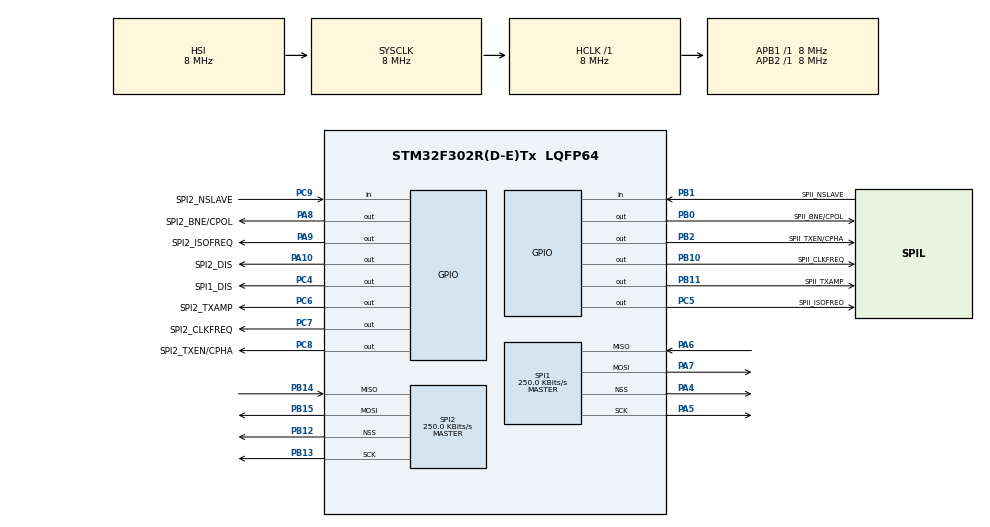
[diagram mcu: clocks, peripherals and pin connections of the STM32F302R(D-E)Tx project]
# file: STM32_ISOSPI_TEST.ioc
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Mcu.Family=STM32F3
Mcu.Name=STM32F302R(D-E)Tx
Mcu.Package=LQFP64
NVIC.PriorityGroup=NVIC_PRIORITYGROUP_4
NVIC.SPI1_IRQn=true\:0\:0\:false\:false\:true\:true\:true\:true
NVIC.SPI2_IRQn=true\:0\:0\:false\:false\:true\:true\:true\:true
PA10.GPIO_Label=SPI2_DIS
PA10.Signal=GPIO_Output
PA4.Mode=NSS_Signal_Hard_Output
PA4.Signal=SPI1_NSS
PA5.Mode=Full_Duplex_Master
PA5.Signal=SPI1_SCK
PA6.Mode=Full_Duplex_Master
PA6.Signal=SPI1_MISO
PA7.Mode=Full_Duplex_Master
PA7.Signal=SPI1_MOSI
PA8.GPIO_Label=SPI2_BNE/CPOL
PA8.Signal=GPIO_Output
PA9.GPIO_Label=SPI2_ISOFREQ
PA9.Signal=GPIO_Output
PB0.GPIO_Label=SPIl_BNE/CPOL
PB0.Signal=GPIO_Output
PB1.GPIO_Label=SPIl_NSLAVE
PB1.Signal=GPIO_Input
PB10.GPIO_Label=SPIl_CLKFREQ
PB10.Signal=GPIO_Output
PB11.GPIO_Label=SPIl_TXAMP
PB11.Signal=GPIO_Output
PB12.Mode=NSS_Signal_Hard_Output
PB12.Signal=SPI2_NSS
PB13.Mode=Full_Duplex_Master
PB13.Signal=SPI2_SCK
PB14.Mode=Full_Duplex_Master
PB14.Signal=SPI2_MISO
PB15.Mode=Full_Duplex_Master
PB15.Signal=SPI2_MOSI
PB2.GPIO_Label=SPIl_TXEN/CPHA
PB2.Signal=GPIO_Output
PC4.GPIO_Label=SPI1_DIS
PC4.Signal=GPIO_Output
PC5.GPIO_Label=SPIl_ISOFREO
PC5.Signal=GPIO_Output
PC6.GPIO_Label=SPI2_TXAMP
PC6.Signal=GPIO_Output
PC7.GPIO_Label=SPI2_CLKFREQ
PC7.Signal=GPIO_Output
PC8.GPIO_Label=SPI2_TXEN/CPHA
PC8.Signal=GPIO_Output
PC9.GPIO_Label=SPI2_NSLAVE
PC9.Signal=GPIO_Input
ProjectManager.HeapSize=0x200
ProjectManager.StackSize=0x400
ProjectManager.TargetToolchain=STM32CubeIDE
RCC.AHBFreq_Value=8000000
RCC.APB1Freq_Value=8000000
RCC.APB2Freq_Value=8000000
RCC.CortexFreq_Value=8000000
RCC.HSE_VALUE=8000000
RCC.HSI_VALUE=8000000
RCC.LSE_VALUE=32768
RCC.PLLMUL=RCC_PLL_MUL4
RCC.SYSCLKFreq_VALUE=8000000
RCC.USBFreq_Value=16000000
SPI1.BaudRatePrescaler=SPI_BAUDRATEPRESCALER_32
SPI1.CRCCalculation=SPI_CRCCALCULATION_ENABLE
SPI1.CalculateBaudRate=250.0 KBits/s
SPI1.DataSize=SPI_DATASIZE_8BIT
SPI1.Direction=SPI_DIRECTION_2LINES
SPI1.Mode=SPI_MODE_MASTER
SPI1.VirtualNSS=VM_NSSHARD
SPI1.VirtualType=VM_MASTER
SPI2.BaudRatePrescaler=SPI_BAUDRATEPRESCALER_32
SPI2.CRCCalculation=SPI_CRCCALCULATION_ENABLE
SPI2.CalculateBaudRate=250.0 KBits/s
SPI2.DataSize=SPI_DATASIZE_8BIT
SPI2.Direction=SPI_DIRECTION_2LINES
SPI2.Mode=SPI_MODE_MASTER
SPI2.VirtualNSS=VM_NSSHARD
SPI2.VirtualType=VM_MASTER
board=custom

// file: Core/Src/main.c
/* USER CODE BEGIN Header */
/**
  ******************************************************************************
  * @file           : main.c
  * @brief          : Main program body
  ******************************************************************************
  * @attention
  *
  * Copyright (c) 2026 STMicroelectronics.
  * All rights reserved.
  *
  * This software is licensed under terms that can be found in the LICENSE file
  * in the root directory of this software component.
  * If no LICENSE file comes with this software, it is provided AS-IS.
  *
  ******************************************************************************
  */
/* USER CODE END Header */
#include "main.h"
#include "spi.h"
#include "gpio.h"

/* USER CODE BEGIN PV */

			// SPI Data buffer
uint8_t TX_Buffer [] = "Big Fast Electric Racecar!" ; // DATA to send
uint8_t RX_Buffer []; // DATA to recive

/* USER CODE END PV */

void SystemClock_Config(void);

int main(void)
{

  /* MCU Configuration--------------------------------------------------------*/

  /* Reset of all peripherals, Initializes the Flash interface and the Systick. */
  HAL_Init();

  /* Configure the system clock */
  SystemClock_Config();

  /* Initialize all configured peripherals */
  MX_GPIO_Init();
  MX_SPI1_Init();
  MX_SPI2_Init();
  /* USER CODE BEGIN 2 */

 // Code for sending SPI data, Value stored in TX_Buffer

  	HAL_SPI_Transmit_IT(&hspi1, TX_Buffer, 1);; //Sending in Interrupt mode

    HAL_SPI_Receive_IT(&hspi2, RX_Buffer, 1); //Receiving in Interrupt mode
    HAL_Delay(100);

  /* USER CODE END 2 */

  /* Infinite loop */
  while (1)
  {

  }
}

void SystemClock_Config(void)
{
  RCC_OscInitTypeDef RCC_OscInitStruct = {0};
  RCC_ClkInitTypeDef RCC_ClkInitStruct = {0};

  /** Initializes the RCC Oscillators according to the specified parameters
  * in the RCC_OscInitTypeDef structure.
  */
  RCC_OscInitStruct.OscillatorType = RCC_OSCILLATORTYPE_HSI;
  RCC_OscInitStruct.HSIState = RCC_HSI_ON;
  RCC_OscInitStruct.HSICalibrationValue = RCC_HSICALIBRATION_DEFAULT;
  RCC_OscInitStruct.PLL.PLLState = RCC_PLL_NONE;
  if (HAL_RCC_OscConfig(&RCC_OscInitStruct) != HAL_OK)
  {
    Error_Handler();
  }

  /** Initializes the CPU, AHB and APB buses clocks
  */
  RCC_ClkInitStruct.ClockType = RCC_CLOCKTYPE_HCLK|RCC_CLOCKTYPE_SYSCLK
                              |RCC_CLOCKTYPE_PCLK1|RCC_CLOCKTYPE_PCLK2;
  RCC_ClkInitStruct.SYSCLKSource = RCC_SYSCLKSOURCE_HSI;
  RCC_ClkInitStruct.AHBCLKDivider = RCC_SYSCLK_DIV1;
  RCC_ClkInitStruct.APB1CLKDivider = RCC_HCLK_DIV1;
  RCC_ClkInitStruct.APB2CLKDivider = RCC_HCLK_DIV1;

  if (HAL_RCC_ClockConfig(&RCC_ClkInitStruct, FLASH_LATENCY_0) != HAL_OK)
  {
    Error_Handler();
  }
}

/* USER CODE BEGIN 4 */

		// Sets the outputs to operate the L9963Ts

 HAL_GPIO_WritePin(SPI1_DIS_GPIO_Port, SPI1_DIS_Pin, GPIO_PIN_RESET);
 HAL_GPIO_WritePin(SPI1_ISOFREQ_GPIO_Port, SPI1_ISOFREQ_Pin, GPIO_PIN_RESET);
 HAL_GPIO_WritePin(SPI1_BNE_CPOL_GPIO_Port, SPI1_BNE_CPOL_Pin, GPIO_PIN_RESET);
 HAL_GPIO_WritePin(SPI1_NSLAVE_GPIO_Port, SPI1_NSLAVE_Pin, GPIO_PIN_RESET);
 HAL_GPIO_WritePin(SPI1_TXEN_CPHA_GPIO_Port, SPI1_TXEN_CPHA_Pin, GPIO_PIN_RESET);
 HAL_GPIO_WritePin(SPI1_CLKFREQ_GPIO_Port, SPI1_CLKFREQ_Pin, GPIO_PIN_RESET);
 HAL_GPIO_WritePin(SPI1_TXAMP_GPIO_Port, SPI1_TXAMP_Pin, GPIO_PIN_RESET);

 HAL_GPIO_WritePin(SPI2_DIS_GPIO_Port, SPI2_DIS_Pin, GPIO_PIN_RESET);
 HAL_GPIO_WritePin(SPI2_ISOFREQ_GPIO_Port, SPI2_ISOFREQ_Pin, GPIO_PIN_RESET);
 HAL_GPIO_WritePin(SPI2_BNE_CPOL_GPIO_Port, SPI2_BNE_CPOL_Pin, GPIO_PIN_RESET);
 HAL_GPIO_WritePin(SPI2_NSLAVE_GPIO_Port, SPI2_NSLAVE_Pin, GPIO_PIN_RESET);
 HAL_GPIO_WritePin(SPI2_TXEN_CPHA_GPIO_Port, SPI2_TXEN_CPHA_Pin, GPIO_PIN_RESET);
 HAL_GPIO_WritePin(SPI2_CLKFREQ_GPIO_Port, SPI2_CLKFREQ_Pin, GPIO_PIN_RESET);
 HAL_GPIO_WritePin(SPI2_TXAMP_GPIO_Port, SPI2_TXAMP_Pin, GPIO_PIN_RESET);

/* USER CODE END 4 */

void Error_Handler(void)
{
  __disable_irq();
  while (1)
  {
  }
}
